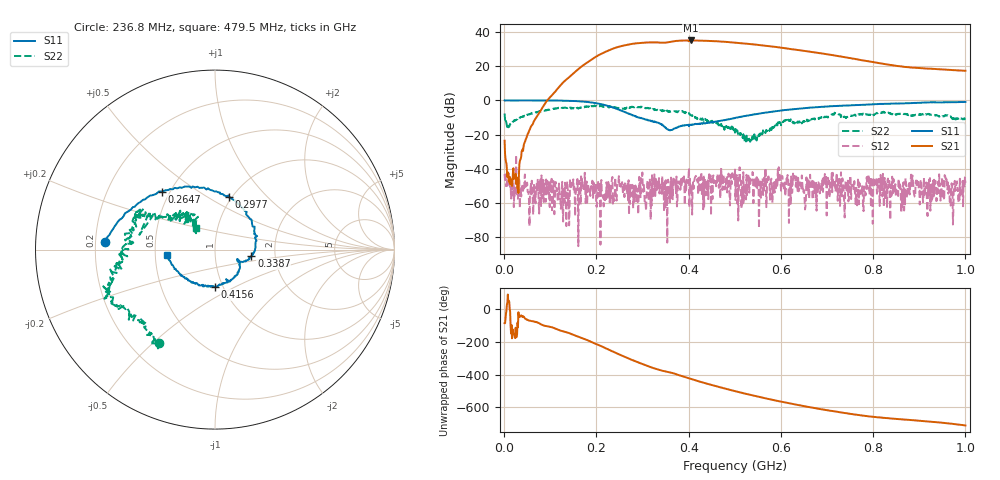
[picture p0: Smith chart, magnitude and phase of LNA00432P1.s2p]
! Created with skrf 1.9.0 (http://scikit-rf.org).
# Hz S RI R 50.0
!freq ReS11 ImS11 ReS21 ImS21 ReS12 ImS12 ReS22 ImS22
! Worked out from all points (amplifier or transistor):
!   1001 points, 1 MHz to 1 GHz, reference 50 ohm
!   highest |S21| = 35.0 dB at 404.6 MHz (marker M1)
!   |S21| within 3 dB of that: 258.8 MHz to 563.9 MHz (305.2 MHz wide, 74.2 % of centre)
!   unconditionally stable (mu >= 1): 3.606 MHz to 33.3 MHz; 233.8 MHz to 292.7 MHz; 299.9 MHz to end of sweep (the widest 3 of 37)
!   at 166.8 MHz: K = 1.25, MAG = 28.9 dB, |S12| = -44.4 dB
!   at 500.5 MHz: K = 1.16, MAG = 34.4 dB, |S12| = -39.8 dB
!   at 1 GHz: K = 2.88, MAG = 25.2 dB, |S12| = -48.1 dB
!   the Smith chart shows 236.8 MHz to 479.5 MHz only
!   S11 on the Smith chart (normalised r, x): 236.8 MHz: 0.24, +0.03; 264.7 MHz: 0.45, +0.36; 297.7 MHz: 0.97, +0.63; 338.7 MHz: 1.50, -0.11; 415.6 MHz: 0.92, -0.40; 479.5 MHz: 0.58, -0.04
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1000000  1.001 0.0142  0.00352 -0.0664  0.00398 0.00589  0.3008 0.2846
1.08892e8  0.5335 -0.8376  -0.7804 -1.52  -0.000219 0.000424  0.4152 -0.3782
1.67833e8  -0.2105 -0.9065  -9.785 -0.6535  -0.000421 0.00316  0.0244 -0.6174
2.07793e8  -0.6527 -0.4435  -15.85 15.17  -0.00293 0.0014  -0.2162 -0.6771
2.36764e8  -0.6135 0.0427  -5.137 32.35  0.000274 0.00173  -0.3141 -0.5213
2.64736e8  -0.2964 0.3234  18.02 37.42  0.00108 -0.00313  -0.4731 -0.3488
2.97703e8  0.0783 0.2931  42.94 20.94  -0.00486 -3.76e-05  -0.5845 -0.2377
3.17683e8  0.2063 0.1438  49.19 4.414  0.000174 0.000279  -0.5475 -0.1298
3.34666e8  0.2229 -0.00268  48.23 -9.129  -0.00295 0.00199  -0.524 -0.0167
3.38662e8  0.2024 -0.0353  47.03 -11.65  0.00278 0.000806  -0.5232 -0.0143
3.71629e8  0.1381 -0.075  43.39 -32.38  -7.99e-05 0.00358  -0.4424 0.1598
4.04596e8  0.0559 -0.186  22 -51.81  0.00131 0.00241  -0.332 0.1683
4.15585e8  0.000527 -0.207  13.63 -54.29  0.00155 0.00608  -0.2566 0.1892
4.45555e8  -0.1481 -0.1674  -9.462 -53.49  0.00439 0.000922  -0.1769 0.2039
4.79521e8  -0.2672 -0.0314  -30.11 -41.69  0.00266 0.00171  -0.1046 0.1206
5.005e8  -0.2937 0.0906  -37.93 -30.72  0.00957 -0.00353  -0.0976 0.0603
5.4046e8  -0.2447 0.3038  -42.2 -8.869  -0.000848 0.000539  -0.0784 -0.0315
5.88412e8  -0.0509 0.4814  -34.51 11.54  0.00128 -0.00406  -0.1699 -0.0998
6.67333e8  0.3247 0.5282  -12.31 22.63  0.00146 -0.00427  -0.283 -0.0394
7.46254e8  0.6007 0.3811  2.444 17.27  0.000962 0.000594  -0.3347 0.0842
8.34166e8  0.7867 0.1396  6.595 8.827  -0.00278 0.00132  -0.377 0.1967
1e9  0.807 -0.4022  7.241 1.242  -0.00232 0.0032  -0.0501 0.2692
